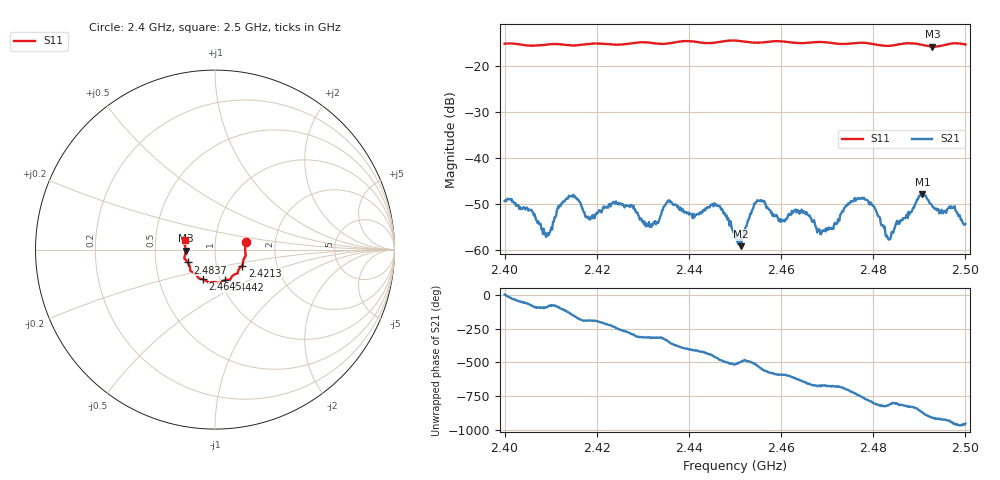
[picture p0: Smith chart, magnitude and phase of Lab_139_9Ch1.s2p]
# Hz S RI R 50
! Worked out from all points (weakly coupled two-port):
!   601 points, 2.4 GHz to 2.5 GHz, reference 50 ohm
!   highest |S21| = -47.83 dB at 2.4907 GHz (marker M1); lowest = -59.2 dB at 2.4513 GHz (marker M2)
!   lowest |S11| = -15.7 dB at 2.4928 GHz (marker M3), VSWR 1.39, Z = 35.9 - j0.38 ohm
!   |S11| at or under -10 dB: start of sweep to end of sweep
!   S12 and S22 are empty: the file has one direction only
!   S11 on the Smith chart (normalised r, x): 2.4 GHz: 1.41, +0.12; 2.4213 GHz: 1.33, -0.25; 2.4442 GHz: 1.05, -0.37; 2.4645 GHz: 0.83, -0.29; 2.4837 GHz: 0.73, -0.11; 2.5 GHz: 0.71, +0.07
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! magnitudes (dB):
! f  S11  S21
! 2.4 GHz  -15.1  -49.3
! 2.4092 GHz  -15.3  -56.7
! 2.4137 GHz  -15.4  -48.9
! 2.4167 GHz  -15.3  -50.4
! 2.4213 GHz  -15.1  -51.0
! 2.4333 GHz  -15.1  -54.1
! 2.4357 GHz  -15.0  -49.2
! 2.4442 GHz  -15.0  -50.7
! 2.4467 GHz  -14.7  -50.4
! 2.45 GHz  -14.4  -56.6
! 2.4513 GHz  -14.5  -59.2
! 2.4552 GHz  -14.9  -49.3
! 2.46 GHz  -14.6  -53.3
! 2.4645 GHz  -15.0  -51.2
! 2.4667 GHz  -14.8  -53.7
! 2.4708 GHz  -14.9  -55.2
! 2.4777 GHz  -14.9  -48.6
! 2.4833 GHz  -15.6  -57.7
! 2.4837 GHz  -15.5  -57.7
! 2.4907 GHz  -15.3  -47.8
! 2.4928 GHz  -15.7  -50.5
! 2.5 GHz  -15.3  -54.3
